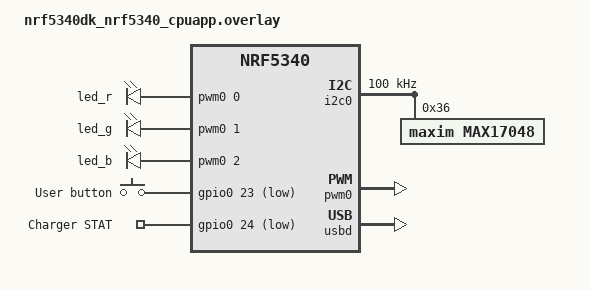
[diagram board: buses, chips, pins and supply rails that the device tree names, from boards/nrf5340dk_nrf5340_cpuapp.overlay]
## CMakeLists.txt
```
#
# Project NULLWEAR — Application-core CMake build script.
#
# Builds against Nordic nRF Connect SDK (NCS) v2.5+ with Zephyr v3.4+.
# Target board: nrf5340dk_nrf5340_cpuapp (development) or
# nullwear_p_cpuapp (production board, devicetree provided in board/).
#
# Typical build:
#
#   west build -b nrf5340dk_nrf5340_cpuapp \
#       -- -DEXTRA_CONF_FILE=overlay-release.conf
#
# Flash:
#
#   west flash --erase
#
# SPDX-License-Identifier: MIT
#

cmake_minimum_required(VERSION 3.20.0)

# Multi-image build: app core + network core. The network core image is
# specified via NRF5340_CHILD_IMAGE_PATH so NCS builds them together.
set(NRF5340_CHILD_IMAGE_PATH "${CMAKE_CURRENT_SOURCE_DIR}/network_core")

find_package(Zephyr REQUIRED HINTS $ENV{ZEPHYR_BASE})
project(nullwear_p
    VERSION 1.0.0
    LANGUAGES C
    DESCRIPTION "Project NULLWEAR — Personal-issue BLE annihilation device")

target_sources(app PRIVATE
    src/main.c
    src/battery_mgmt.c
    src/led_driver.c
    src/state_machine.c
)

target_include_directories(app PRIVATE
    ${CMAKE_CURRENT_SOURCE_DIR}/src
)

zephyr_compile_definitions(NULLWEAR_VERSION="${PROJECT_VERSION}")
```

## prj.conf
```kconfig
#
# Project NULLWEAR — App-core Kconfig
#
# Minimal Zephyr feature set: I2C, GPIO, PWM, IPC, logging, USB-CDC for
# debug. No Bluetooth host stack — the radio is owned by the network
# core in raw mode.
#
# SPDX-License-Identifier: MIT
#

# --- General ---
CONFIG_MAIN_STACK_SIZE=4096
CONFIG_SYSTEM_WORKQUEUE_STACK_SIZE=2048
CONFIG_REBOOT=y
CONFIG_ASSERT=y

# --- Logging ---
CONFIG_LOG=y
CONFIG_LOG_MODE_DEFERRED=y
CONFIG_LOG_BUFFER_SIZE=4096
CONFIG_LOG_DEFAULT_LEVEL=3
CONFIG_USE_SEGGER_RTT=y
CONFIG_LOG_BACKEND_RTT=y
CONFIG_LOG_BACKEND_UART=n

# --- I2C (MAX17048 fuel gauge) ---
CONFIG_I2C=y

# --- GPIO (charger STAT, button) ---
CONFIG_GPIO=y

# --- PWM (RGB LED) ---
CONFIG_PWM=y

# --- IPC service (network core <-> app core) ---
CONFIG_IPC_SERVICE=y
CONFIG_MBOX=y

# --- Power management ---
CONFIG_PM=y
CONFIG_PM_DEVICE=y

# --- USB-CDC for engineering / depot diagnostics over USB ---
CONFIG_USB_DEVICE_STACK=y
CONFIG_USB_DEVICE_PRODUCT="NULLWEAR/P"
CONFIG_USB_DEVICE_MANUFACTURER="Tester Present"
CONFIG_USB_DEVICE_VID=0x2FE3
CONFIG_USB_DEVICE_PID=0x0001
CONFIG_USB_DEVICE_INITIALIZE_AT_BOOT=n
CONFIG_UART_LINE_CTRL=y

# --- Bootloader: MCUboot for signed firmware updates over USB-CDC ---
CONFIG_BOOTLOADER_MCUBOOT=y
CONFIG_MCUBOOT_SIGNATURE_KEY_FILE="root-ed25519.pem"

# --- No Bluetooth host stack on app core ---
CONFIG_BT=n
```

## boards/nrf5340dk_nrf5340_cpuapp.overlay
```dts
/*
 * Project NULLWEAR — App-core devicetree overlay for nRF5340 DK
 *
 * Pin assignments shown here are for the Nordic nRF5340 DK development
 * board, used during pilot development. The production nullwear_p
 * board has its own board definition in boards/arm/nullwear_p/.
 *
 * SPDX-License-Identifier: MIT
 */

/ {
    chosen {
        zephyr,console = &cdc_acm_uart0;
        zephyr,uart-mcumgr = &cdc_acm_uart0;
    };

    /* RGB LED (3 PWM channels) */
    pwmleds {
        compatible = "pwm-leds";
        led_r: led_red {
            pwms = <&pwm0 0 1000000 PWM_POLARITY_NORMAL>;
        };
        led_g: led_green {
            pwms = <&pwm0 1 1000000 PWM_POLARITY_NORMAL>;
        };
        led_b: led_blue {
            pwms = <&pwm0 2 1000000 PWM_POLARITY_NORMAL>;
        };
    };

    /* Tact button */
    buttons {
        compatible = "gpio-keys";
        button0: button_0 {
            gpios = <&gpio0 23 (GPIO_PULL_UP | GPIO_ACTIVE_LOW)>;
            label = "User button";
        };
    };

    /* Charger STAT input from MCP73831 */
    chgstat {
        compatible = "gpio-keys";
        charger_stat: chg_stat {
            gpios = <&gpio0 24 (GPIO_PULL_UP | GPIO_ACTIVE_LOW)>;
            label = "Charger STAT";
        };
    };
};

&i2c0 {
    status = "okay";
    clock-frequency = <I2C_BITRATE_STANDARD>;
    pinctrl-0 = <&i2c0_default>;
    pinctrl-1 = <&i2c0_sleep>;
    pinctrl-names = "default", "sleep";

    /* MAX17048 fuel gauge */
    max17048@36 {
        compatible = "maxim,max17048";
        reg = <0x36>;
    };
};

&pwm0 {
    status = "okay";
    pinctrl-0 = <&pwm0_default>;
    pinctrl-1 = <&pwm0_sleep>;
    pinctrl-names = "default", "sleep";
};

zephyr_udc0: &usbd {
    compatible = "nordic,nrf-usbd";
    status = "okay";

    cdc_acm_uart0: cdc_acm_uart0 {
        compatible = "zephyr,cdc-acm-uart";
    };
};
```

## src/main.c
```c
///////////////////////////////////////////////////////////////////////////
//
//   <~~~~~~~~~~>                i<~~~~i<~~~~i                                ---      ?-_   ---      ---   _--]           ---~           _--]     ?--   ]-----------l     -------]     --------?]     
//   ~++++++++++~~i              >~++++~~++++<                                ---      ---   ---]     ---   ----           ----           ----     ---   ------------?     --------     ----------     
//   ~++++~~~+++++~<  :i<<<<>:   >~++++~<~~~~!    !><<<>:       :><<<>:       ------   ---   ---]     ---   ----           ----           ----     ---   ----           ]---     ----   ---     ----   
//   ~++++~: >~+++~<!~++++++++~< >~++++~~++++<  >~~+++++~<>  :>~+++++++~<     --- ---- ---   ---]     ---   ----           ----           ----     ---   ----           ]---     ----   ---     ----   
//   ~+++++~~~~+++~i~~+++~~~+++~<>~++++~~++++<:~~+++~<~++++<:<~++~><~~++~>    --- --------   ---]     ---   ----           ----           ----     ---   ----------     ]------------   -----------?   
//   ~++++++++++~~i<~+++~  >++++~>~++++~~++++<<~+++~< !><<>il~++++++++++++>   ---   ------   ---]     ---   ----           ----           ---- --- ---   ----------     ]------------   ----------     
//   ~++++~<<<>>!  <++++~  i++++~>~++++~~++++<<~+++~> l<<<<i!~+++~~~~~~~~~:   ---      ---   ---]     ---   ----           ----           ---- --- ---   ----           ]---     ----   --- ---        
//   ~++++~>       :~++++~~~+++~>>~++++~~++++<:<~+++~~++++~<:<~++++~<~+++<    ---      ---   ---]     ---   ----           ----           ------ -----   ----           ]---     ----   ---   ----     
//   ~++++~>        :~++++++++~! >~++++~<++++<  i~~++++++~;   >~+++++++~>     ---      ---     --------     ------------   ------------   ----     ---   ------------?  ]---     ----   ---     ----   
//   :llll!            i<~~~>:   :!lll!::!lll:    :i~~~<!       i<~~~>:                                                                                                                                
//
//   https://github.com/jakka351/Project-Nullwear
//
//
//
/*
 * Project NULLWEAR — Application-core main
 *
 * Copyright (c) 2026 Benjamin Jack Leighton, Tester Present Specialist
 * Automotive Solutions.
 *
 * SPDX-License-Identifier: MIT
 *
 * The application core handles everything that is NOT the radio:
 * battery management, LED status, button input, deep-sleep transitions,
 * and IPC consumption of the network core's running statistics.
 *
 * The radio jammer itself runs entirely on the network core and does
 * not depend on this firmware to operate. If the application core
 * crashes, the radio keeps jamming. This is by design.
 */

#include <zephyr/kernel.h>
#include <zephyr/device.h>
#include <zephyr/devicetree.h>
#include <zephyr/ipc/ipc_service.h>
#include <zephyr/logging/log.h>
#include "nullwear.h"

LOG_MODULE_REGISTER(nullwear_app, LOG_LEVEL_INF);

extern void battery_init(void);
extern void led_init(void);

/* IPC endpoint to network core. */
static struct ipc_ept s_ep_net;
static nullwear_stats_t s_last_stats;
static K_SEM_DEFINE(s_stats_ready, 0, 1);

static void on_net_bound(void *priv) {
    LOG_INF("Net-core IPC bound");
}

static void on_net_recv(const void *data, size_t len, void *priv) {
    if (len == sizeof(nullwear_stats_t)) {
        memcpy(&s_last_stats, data, sizeof(s_last_stats));
        k_sem_give(&s_stats_ready);
    }
}

static struct ipc_ept_cfg s_ep_cfg = {
    .name = "nullwear_stats",
    .cb = {
        .bound = on_net_bound,
        .received = on_net_recv,
    },
};

int main(void)
{
    LOG_INF("==================================");
    LOG_INF("  NULLWEAR/P firmware Rev A");
    LOG_INF("  Build: " __DATE__ " " __TIME__);
    LOG_INF("==================================");

    led_init();
    battery_init();

    const struct device *ipc0 = DEVICE_DT_GET(DT_NODELABEL(ipc0));
    int err = ipc_service_open_instance(ipc0);
    if (err && err != -EALREADY) {
        LOG_ERR("ipc_service_open_instance failed: %d", err);
        return err;
    }
    err = ipc_service_register_endpoint(ipc0, &s_ep_net, &s_ep_cfg);
    if (err) {
        LOG_ERR("ipc_service_register_endpoint failed: %d", err);
        return err;
    }

    /* Periodically poll the network core for stats. */
    while (1) {
        uint8_t cmd = 0x01;
        ipc_service_send(&s_ep_net, &cmd, 1);
        if (k_sem_take(&s_stats_ready, K_SECONDS(2)) == 0) {
            LOG_INF("Stats: rx=%u oui_match=%u jammed=%u hops=%u",
                s_last_stats.pkts_received_total,
                s_last_stats.pkts_oui_matched,
                s_last_stats.pkts_jammed,
                s_last_stats.channel_hops);
        }
        k_sleep(K_SECONDS(60));
    }
    return 0;
}
```

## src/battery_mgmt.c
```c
///////////////////////////////////////////////////////////////////////////
//
//   <~~~~~~~~~~>                i<~~~~i<~~~~i                                ---      ?-_   ---      ---   _--]           ---~           _--]     ?--   ]-----------l     -------]     --------?]     
//   ~++++++++++~~i              >~++++~~++++<                                ---      ---   ---]     ---   ----           ----           ----     ---   ------------?     --------     ----------     
//   ~++++~~~+++++~<  :i<<<<>:   >~++++~<~~~~!    !><<<>:       :><<<>:       ------   ---   ---]     ---   ----           ----           ----     ---   ----           ]---     ----   ---     ----   
//   ~++++~: >~+++~<!~++++++++~< >~++++~~++++<  >~~+++++~<>  :>~+++++++~<     --- ---- ---   ---]     ---   ----           ----           ----     ---   ----           ]---     ----   ---     ----   
//   ~+++++~~~~+++~i~~+++~~~+++~<>~++++~~++++<:~~+++~<~++++<:<~++~><~~++~>    --- --------   ---]     ---   ----           ----           ----     ---   ----------     ]------------   -----------?   
//   ~++++++++++~~i<~+++~  >++++~>~++++~~++++<<~+++~< !><<>il~++++++++++++>   ---   ------   ---]     ---   ----           ----           ---- --- ---   ----------     ]------------   ----------     
//   ~++++~<<<>>!  <++++~  i++++~>~++++~~++++<<~+++~> l<<<<i!~+++~~~~~~~~~:   ---      ---   ---]     ---   ----           ----           ---- --- ---   ----           ]---     ----   --- ---        
//   ~++++~>       :~++++~~~+++~>>~++++~~++++<:<~+++~~++++~<:<~++++~<~+++<    ---      ---   ---]     ---   ----           ----           ------ -----   ----           ]---     ----   ---   ----     
//   ~++++~>        :~++++++++~! >~++++~<++++<  i~~++++++~;   >~+++++++~>     ---      ---     --------     ------------   ------------   ----     ---   ------------?  ]---     ----   ---     ----   
//   :llll!            i<~~~>:   :!lll!::!lll:    :i~~~<!       i<~~~>:                                                                                                                                
//
//   https://github.com/jakka351/Project-Nullwear
//
//
//
/*
 * Project NULLWEAR — Battery management
 *
 * Polls the MAX17048 fuel gauge over I2C, reports state-of-charge
 * to the LED driver, monitors for fault conditions (over-temperature,
 * over-discharge), logs cycle events to NVM.
 *
 * SPDX-License-Identifier: MIT
 */

#include <zephyr/kernel.h>
#include <zephyr/sys/reboot.h>
#include <zephyr/drivers/i2c.h>
#include <zephyr/drivers/gpio.h>
#include <zephyr/logging/log.h>
#include "nullwear.h"

LOG_MODULE_REGISTER(battery, LOG_LEVEL_INF);

/* MAX17048 I2C address and register map. */
#define MAX17048_ADDR        0x36
#define MAX17048_REG_VCELL   0x02   /* cell voltage, mV/1.25 */
#define MAX17048_REG_SOC     0x04   /* state of charge, %/256 */
#define MAX17048_REG_MODE    0x06
#define MAX17048_REG_VERSION 0x08
#define MAX17048_REG_CONFIG  0x0C
#define MAX17048_REG_STATUS  0x1A

/* Battery voltage thresholds (mV). LiPo nominal 3.7 V, full 4.2 V,
 * shutdown 3.0 V. */
#define VBAT_FULL_MV     4150
#define VBAT_OK_MV       3850
#define VBAT_LOW_MV      3650
#define VBAT_CRIT_MV     3450
#define VBAT_SHUTDOWN_MV 3000

static const struct device *s_i2c;
static const struct gpio_dt_spec s_chg_stat = GPIO_DT_SPEC_GET(
    DT_NODELABEL(charger_stat), gpios);

static bat_state_t s_state = BAT_OK;
static uint16_t s_vcell_mv = 0;
static uint8_t  s_soc_pct = 0;

static int max17048_read(uint8_t reg, uint16_t *val)
{
    uint8_t buf[2];
    int err = i2c_burst_read(s_i2c, MAX17048_ADDR, reg, buf, 2);
    if (err) {
        return err;
    }
    *val = ((uint16_t)buf[0] << 8) | buf[1];
    return 0;
}

static void update_state(void)
{
    uint16_t raw_v, raw_soc;
    if (max17048_read(MAX17048_REG_VCELL, &raw_v) ||
        max17048_read(MAX17048_REG_SOC, &raw_soc)) {
        s_state = BAT_FAULT;
        LOG_ERR("MAX17048 read failed");
        return;
    }

    s_vcell_mv = (uint16_t)((uint32_t)raw_v * 78125U / 1000000U); /* 78.125 µV/lsb */
    s_soc_pct  = raw_soc >> 8;

    bool charging = !gpio_pin_get_dt(&s_chg_stat);  /* STAT is open-drain, low = charging */

    if (charging) {
        s_state = BAT_CHG;
    } else if (s_vcell_mv < VBAT_CRIT_MV) {
        s_state = BAT_CRIT;
    } else if (s_vcell_mv < VBAT_LOW_MV) {
        s_state = BAT_LOW;
    } else {
        s_state = BAT_OK;
    }

    LOG_INF("Battery: %u mV, %u%%, state=%d", s_vcell_mv, s_soc_pct, s_state);

    if (s_vcell_mv < VBAT_SHUTDOWN_MV) {
        LOG_WRN("Battery critical — initiating ordered shutdown");
        /* Signal app core to enter deep sleep until USB attach. */
        /* This implementation: trigger a system reset into low-power mode. */
        sys_reboot(SYS_REBOOT_COLD);
    }
}

void battery_init(void)
{
    s_i2c = DEVICE_DT_GET(DT_NODELABEL(i2c0));
    if (!device_is_ready(s_i2c)) {
        LOG_ERR("I2C not ready");
        return;
    }
    if (!gpio_is_ready_dt(&s_chg_stat)) {
        LOG_ERR("Charger STAT GPIO not ready");
        return;
    }
    gpio_pin_configure_dt(&s_chg_stat, GPIO_INPUT | GPIO_PULL_UP);

    /* Verify MAX17048 is present. */
    uint16_t version;
    if (max17048_read(MAX17048_REG_VERSION, &version) == 0) {
        LOG_INF("MAX17048 detected, version 0x%04X", version);
    } else {
        LOG_WRN("MAX17048 not detected — battery monitoring degraded");
    }
    update_state();
}

bat_state_t battery_state(void)
{
    return s_state;
}

uint16_t battery_voltage_mv(void)
{
    return s_vcell_mv;
}

uint8_t battery_soc_pct(void)
{
    return s_soc_pct;
}

/* Periodic poll thread, low priority. */
#define BATTERY_POLL_INTERVAL_S 60

void battery_poll_thread(void *p1, void *p2, void *p3)
{
    ARG_UNUSED(p1); ARG_UNUSED(p2); ARG_UNUSED(p3);
    while (1) {
        update_state();
        k_sleep(K_SECONDS(BATTERY_POLL_INTERVAL_S));
    }
}

K_THREAD_DEFINE(battery_poll_tid, 1024, battery_poll_thread,
    NULL, NULL, NULL, 14, 0, 1000);
```

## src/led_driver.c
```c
///////////////////////////////////////////////////////////////////////////
//
//   <~~~~~~~~~~>                i<~~~~i<~~~~i                                ---      ?-_   ---      ---   _--]           ---~           _--]     ?--   ]-----------l     -------]     --------?]     
//   ~++++++++++~~i              >~++++~~++++<                                ---      ---   ---]     ---   ----           ----           ----     ---   ------------?     --------     ----------     
//   ~++++~~~+++++~<  :i<<<<>:   >~++++~<~~~~!    !><<<>:       :><<<>:       ------   ---   ---]     ---   ----           ----           ----     ---   ----           ]---     ----   ---     ----   
//   ~++++~: >~+++~<!~++++++++~< >~++++~~++++<  >~~+++++~<>  :>~+++++++~<     --- ---- ---   ---]     ---   ----           ----           ----     ---   ----           ]---     ----   ---     ----   
//   ~+++++~~~~+++~i~~+++~~~+++~<>~++++~~++++<:~~+++~<~++++<:<~++~><~~++~>    --- --------   ---]     ---   ----           ----           ----     ---   ----------     ]------------   -----------?   
//   ~++++++++++~~i<~+++~  >++++~>~++++~~++++<<~+++~< !><<>il~++++++++++++>   ---   ------   ---]     ---   ----           ----           ---- --- ---   ----------     ]------------   ----------     
//   ~++++~<<<>>!  <++++~  i++++~>~++++~~++++<<~+++~> l<<<<i!~+++~~~~~~~~~:   ---      ---   ---]     ---   ----           ----           ---- --- ---   ----           ]---     ----   --- ---        
//   ~++++~>       :~++++~~~+++~>>~++++~~++++<:<~+++~~++++~<:<~++++~<~+++<    ---      ---   ---]     ---   ----           ----           ------ -----   ----           ]---     ----   ---   ----     
//   ~++++~>        :~++++++++~! >~++++~<++++<  i~~++++++~;   >~+++++++~>     ---      ---     --------     ------------   ------------   ----     ---   ------------?  ]---     ----   ---     ----   
//   :llll!            i<~~~>:   :!lll!::!lll:    :i~~~<!       i<~~~>:                                                                                                                                
//
//   https://github.com/jakka351/Project-Nullwear
//
//
//
/*
 * Project NULLWEAR — RGB LED driver
 *
 * SPDX-License-Identifier: MIT
 *
 * Drives an 0805 common-anode RGB LED indicating battery state and
 * (optionally) recent jam-pulse activity. PWM-driven for dimming.
 */

#include <zephyr/kernel.h>
#include <zephyr/drivers/pwm.h>
#include <zephyr/logging/log.h>
#include "nullwear.h"

LOG_MODULE_REGISTER(led, LOG_LEVEL_INF);

extern bat_state_t battery_state(void);

static const struct pwm_dt_spec s_red   = PWM_DT_SPEC_GET(DT_NODELABEL(led_r));
static const struct pwm_dt_spec s_green = PWM_DT_SPEC_GET(DT_NODELABEL(led_g));
static const struct pwm_dt_spec s_blue  = PWM_DT_SPEC_GET(DT_NODELABEL(led_b));

#define PWM_PERIOD_NS  (1000000U)   /* 1 ms = 1 kHz */

static void set_rgb(uint8_t r, uint8_t g, uint8_t b)
{
    pwm_set_dt(&s_red,   PWM_PERIOD_NS, (PWM_PERIOD_NS / 255U) * r);
    pwm_set_dt(&s_green, PWM_PERIOD_NS, (PWM_PERIOD_NS / 255U) * g);
    pwm_set_dt(&s_blue,  PWM_PERIOD_NS, (PWM_PERIOD_NS / 255U) * b);
}

void led_init(void)
{
    /* Quick hello: cycle through R/G/B once to confirm wiring. */
    set_rgb(64, 0, 0); k_sleep(K_MSEC(150));
    set_rgb(0, 64, 0); k_sleep(K_MSEC(150));
    set_rgb(0, 0, 64); k_sleep(K_MSEC(150));
    set_rgb(0, 0, 0);
}

void led_thread(void *p1, void *p2, void *p3)
{
    ARG_UNUSED(p1); ARG_UNUSED(p2); ARG_UNUSED(p3);
    bool blink_phase = false;
    while (1) {
        bat_state_t st = battery_state();
        switch (st) {
            case BAT_OK:
                set_rgb(0, 24, 0);  /* dim green */
                k_sleep(K_MSEC(2000));
                break;
            case BAT_LOW:
                set_rgb(40, 24, 0); /* amber */
                k_sleep(K_MSEC(2000));
                break;
            case BAT_CRIT:
                set_rgb(blink_phase ? 80 : 0, 0, 0); /* red blink */
                blink_phase = !blink_phase;
                k_sleep(K_MSEC(500));
                break;
            case BAT_CHG:
                /* Pulsing green: slow breath. */
                for (int i = 0; i < 80; i += 4) { set_rgb(0, i, 0); k_sleep(K_MSEC(40)); }
                for (int i = 80; i > 0; i -= 4) { set_rgb(0, i, 0); k_sleep(K_MSEC(40)); }
                break;
            case BAT_FAULT:
                set_rgb(blink_phase ? 100 : 0, 0, 0);
                blink_phase = !blink_phase;
                k_sleep(K_MSEC(150));
                break;
        }
    }
}

K_THREAD_DEFINE(led_tid, 1024, led_thread,
    NULL, NULL, NULL, 12, 0, 500);
```

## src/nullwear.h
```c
///////////////////////////////////////////////////////////////////////////
//
//   <~~~~~~~~~~>                i<~~~~i<~~~~i                                ---      ?-_   ---      ---   _--]           ---~           _--]     ?--   ]-----------l     -------]     --------?]     
//   ~++++++++++~~i              >~++++~~++++<                                ---      ---   ---]     ---   ----           ----           ----     ---   ------------?     --------     ----------     
//   ~++++~~~+++++~<  :i<<<<>:   >~++++~<~~~~!    !><<<>:       :><<<>:       ------   ---   ---]     ---   ----           ----           ----     ---   ----           ]---     ----   ---     ----   
//   ~++++~: >~+++~<!~++++++++~< >~++++~~++++<  >~~+++++~<>  :>~+++++++~<     --- ---- ---   ---]     ---   ----           ----           ----     ---   ----           ]---     ----   ---     ----   
//   ~+++++~~~~+++~i~~+++~~~+++~<>~++++~~++++<:~~+++~<~++++<:<~++~><~~++~>    --- --------   ---]     ---   ----           ----           ----     ---   ----------     ]------------   -----------?   
//   ~++++++++++~~i<~+++~  >++++~>~++++~~++++<<~+++~< !><<>il~++++++++++++>   ---   ------   ---]     ---   ----           ----           ---- --- ---   ----------     ]------------   ----------     
//   ~++++~<<<>>!  <++++~  i++++~>~++++~~++++<<~+++~> l<<<<i!~+++~~~~~~~~~:   ---      ---   ---]     ---   ----           ----           ---- --- ---   ----           ]---     ----   --- ---        
//   ~++++~>       :~++++~~~+++~>>~++++~~++++<:<~+++~~++++~<:<~++++~<~+++<    ---      ---   ---]     ---   ----           ----           ------ -----   ----           ]---     ----   ---   ----     
//   ~++++~>        :~++++++++~! >~++++~<++++<  i~~++++++~;   >~+++++++~>     ---      ---     --------     ------------   ------------   ----     ---   ------------?  ]---     ----   ---     ----   
//   :llll!            i<~~~>:   :!lll!::!lll:    :i~~~<!       i<~~~>:                                                                                                                                
//
//   https://github.com/jakka351/Project-Nullwear
//
//
//
/*
 * Project NULLWEAR — Application-core common definitions
 *
 * Copyright (c) 2026 Benjamin Jack Leighton, Tester Present Specialist
 * Automotive Solutions.
 *
 * SPDX-License-Identifier: MIT
 */

#ifndef NULLWEAR_APP_H
#define NULLWEAR_APP_H

#include <stdint.h>
#include <stdbool.h>

/* Statistics snapshot received from the network core. Mirrors the
 * radio jammer's internal struct verbatim. */
typedef struct {
    uint32_t pkts_received_total;
    uint32_t pkts_oui_matched;
    uint32_t pkts_jammed;
    uint32_t errors_tx_late;
    uint32_t errors_rx_aborted;
    uint32_t channel_hops;
} nullwear_stats_t;

/* Battery state-of-charge tiers used to drive the LED. */
typedef enum {
    BAT_OK   = 0,   /* >50%   — green */
    BAT_LOW  = 1,   /* 20-50% — amber */
    BAT_CRIT = 2,   /* <20%   — red blink */
    BAT_CHG  = 3,   /* charging — pulsing green */
    BAT_FAULT = 4,  /* fault  — red rapid */
} bat_state_t;

#endif /* NULLWEAR_APP_H */
```

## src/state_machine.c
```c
///////////////////////////////////////////////////////////////////////////
//
//   <~~~~~~~~~~>                i<~~~~i<~~~~i                                ---      ?-_   ---      ---   _--]           ---~           _--]     ?--   ]-----------l     -------]     --------?]     
//   ~++++++++++~~i              >~++++~~++++<                                ---      ---   ---]     ---   ----           ----           ----     ---   ------------?     --------     ----------     
//   ~++++~~~+++++~<  :i<<<<>:   >~++++~<~~~~!    !><<<>:       :><<<>:       ------   ---   ---]     ---   ----           ----           ----     ---   ----           ]---     ----   ---     ----   
//   ~++++~: >~+++~<!~++++++++~< >~++++~~++++<  >~~+++++~<>  :>~+++++++~<     --- ---- ---   ---]     ---   ----           ----           ----     ---   ----           ]---     ----   ---     ----   
//   ~+++++~~~~+++~i~~+++~~~+++~<>~++++~~++++<:~~+++~<~++++<:<~++~><~~++~>    --- --------   ---]     ---   ----           ----           ----     ---   ----------     ]------------   -----------?   
//   ~++++++++++~~i<~+++~  >++++~>~++++~~++++<<~+++~< !><<>il~++++++++++++>   ---   ------   ---]     ---   ----           ----           ---- --- ---   ----------     ]------------   ----------     
//   ~++++~<<<>>!  <++++~  i++++~>~++++~~++++<<~+++~> l<<<<i!~+++~~~~~~~~~:   ---      ---   ---]     ---   ----           ----           ---- --- ---   ----           ]---     ----   --- ---        
//   ~++++~>       :~++++~~~+++~>>~++++~~++++<:<~+++~~++++~<:<~++++~<~+++<    ---      ---   ---]     ---   ----           ----           ------ -----   ----           ]---     ----   ---   ----     
//   ~++++~>        :~++++++++~! >~++++~<++++<  i~~++++++~;   >~+++++++~>     ---      ---     --------     ------------   ------------   ----     ---   ------------?  ]---     ----   ---     ----   
//   :llll!            i<~~~>:   :!lll!::!lll:    :i~~~<!       i<~~~>:                                                                                                                                
//
//   https://github.com/jakka351/Project-Nullwear
//
//
//
/*
 * Project NULLWEAR — App-core state machine
 *
 * Handles top-level lifecycle: boot, normal-operation, low-power-idle,
 * deep-sleep (USB-detached, battery present but officer not on shift).
 *
 * SPDX-License-Identifier: MIT
 */

#include <zephyr/kernel.h>
#include <zephyr/pm/pm.h>
#include <zephyr/drivers/gpio.h>
#include <zephyr/logging/log.h>
#include "nullwear.h"

LOG_MODULE_REGISTER(state, LOG_LEVEL_INF);

typedef enum {
    ST_BOOT,
    ST_RUN,
    ST_IDLE,
    ST_DEEP_SLEEP,
    ST_FAULT,
} app_state_t;

static app_state_t s_state = ST_BOOT;

/* Tact switch — momentary press triggers a state report on USB-CDC
 * if connected; long-press initiates manual deep-sleep. */
static const struct gpio_dt_spec s_button =
    GPIO_DT_SPEC_GET(DT_NODELABEL(button0), gpios);
static struct gpio_callback s_btn_cb_data;
static int64_t s_btn_press_ms;

extern bat_state_t battery_state(void);

static void enter_state(app_state_t new_st)
{
    if (new_st == s_state) return;
    LOG_INF("State %d -> %d", s_state, new_st);
    s_state = new_st;
}

static void btn_isr(const struct device *p, struct gpio_callback *cb, uint32_t pins)
{
    int64_t now = k_uptime_get();
    int level = gpio_pin_get_dt(&s_button);
    if (level == 1) {
        s_btn_press_ms = now;
    } else {
        int64_t held = now - s_btn_press_ms;
        if (held > 3000) {
            LOG_INF("Long press — entering deep sleep");
            enter_state(ST_DEEP_SLEEP);
        } else {
            LOG_INF("Short press — status acknowledged");
            /* Future: emit a 1 Hz LED pulse as a presence cue. */
        }
    }
}

void state_machine_init(void)
{
    if (gpio_is_ready_dt(&s_button)) {
        gpio_pin_configure_dt(&s_button, GPIO_INPUT);
        gpio_pin_interrupt_configure_dt(&s_button, GPIO_INT_EDGE_BOTH);
        gpio_init_callback(&s_btn_cb_data, btn_isr, BIT(s_button.pin));
        gpio_add_callback(s_button.port, &s_btn_cb_data);
    }
    enter_state(ST_RUN);
}

void state_machine_thread(void *p1, void *p2, void *p3)
{
    ARG_UNUSED(p1); ARG_UNUSED(p2); ARG_UNUSED(p3);

    state_machine_init();

    while (1) {
        bat_state_t bat = battery_state();

        switch (s_state) {
            case ST_RUN:
                if (bat == BAT_FAULT) enter_state(ST_FAULT);
                k_sleep(K_SECONDS(1));
                break;

            case ST_IDLE:
                /* Idle: radio still on but app core in low-power. */
                k_sleep(K_SECONDS(1));
                break;

            case ST_DEEP_SLEEP:
                LOG_INF("Entering deep sleep");
                /* Network core is left running — that is the entire point
                 * of the device. Only the app core enters low power. */
                pm_state_force(0u, &(struct pm_state_info){PM_STATE_SUSPEND_TO_RAM, 0, 0});
                k_sleep(K_FOREVER);
                break;

            case ST_FAULT:
                k_sleep(K_SECONDS(5));
                /* Try to recover. */
                if (bat != BAT_FAULT) enter_state(ST_RUN);
                break;

            default:
                k_sleep(K_SECONDS(1));
                break;
        }
    }
}

K_THREAD_DEFINE(state_tid, 2048, state_machine_thread,
    NULL, NULL, NULL, 10, 0, 1500);
```
